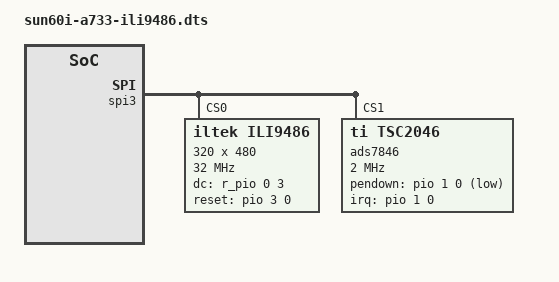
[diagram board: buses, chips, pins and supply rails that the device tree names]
/dts-v1/;
/plugin/;

/ {
	fragment@0 {
		target = <&spi3>;
		__overlay__ {
			status = "okay";

			spidev@0 {
				status = "disabled";
			};

			spidev@1 {
				status = "disabled";
			};

			ili9486@0 {
				compatible = "iltek,ili9486";
				reg = <0>;
				spi-max-frequency = <32000000>;
				dc-gpios = <&r_pio 0 3 0>;
				reset-gpios = <&pio 3 0 0>;
				width = <320>;
				height = <480>;
				scale = <1>;
			};

			ads7846@1 {
				compatible = "ti,tsc2046";
				reg = <1>;
				spi-max-frequency = <2000000>;
				interrupt-parent = <&pio>;
				interrupts = <1 0 8>;			/* PB0 (GPIO 32), IRQ_TYPE_LEVEL_LOW */
				pendown-gpios = <&pio 1 0 1>;		/* PB0 (GPIO 32), GPIO_ACTIVE_LOW */
				ti,pressure-max = <4095>;		/* 12-bit full-scale; <255> caused Rt>pressure_max drops */
			};
		};
	};
};
